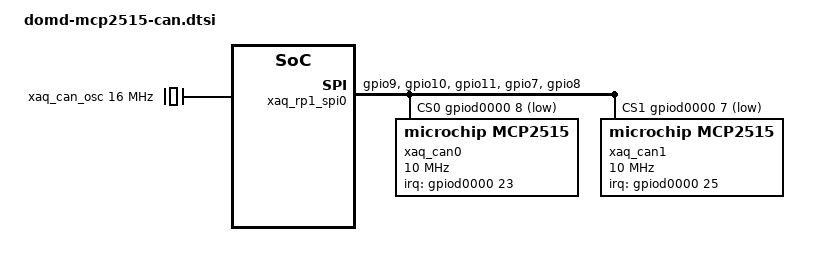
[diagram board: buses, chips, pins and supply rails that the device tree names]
// SPDX-License-Identifier: Apache-2.0
// Copyright (c) 2026 Xaloqi
//
// Appended to SoDeV's DomD partial DT (bcm2712-raspberrypi5-domd-vc4.dts) by
// domd-vc4.bbappend: the Waveshare 2-CH CAN HAT (two MCP2515 on RP1 SPI0) as
// DomD's can0/can1.
//
// No Xen change is needed for this. DomD already owns the whole RP1 peripheral
// window through the pcie2 xen,reg aperture (host 0x1f_00000000, 16 MiB), and
// RP1's device interrupts are RP1-internal (its irqchip, then MSI-X through the
// MIP, whose SPIs 160..223 are DomD's). SPI0 (RP1 +0x50000) and the GPIO bank
// (RP1 +0xd0000) are inside that window, so these nodes only tell DomD's kernel
// what is there, like SoDeV's other RP1 nodes ("DESCRIPTIVE only").
//
// Values, and where they come from:
//  - 16 MHz oscillator, can0 = CE0 (GPIO8) + INT GPIO23, can1 = CE1 (GPIO7) +
//    INT GPIO25: Waveshare's 2-CH CAN HAT wiki ("mcp2515-can0,oscillator=16000000,
//    interrupt=23", "mcp2515-can1,oscillator=16000000,interrupt=25"). SoDeV's own
//    bcm2712-raspberrypi5-can-mcp2515.dtso (meta-xt-rpi5, EPAM) has the same.
//  - SPI0: snps,dw-apb-ssi at RP1 0x50000, RP1 IRQ 19 (0x13), clock RP1_CLK_SYS
//    (clocks18000 index 0x0c), copied from that dtso.
//  - No DMA: the dtso's rp1_dma is left out on purpose, so the DesignWare driver
//    uses PIO. Two CAN controllers at 500 kbit/s do not need DMA, and it keeps
//    RP1's DMA engine (and its dma-ranges through PCIe) out of the bring-up.
//  - 10 MHz SPI clock, as in the dtso (the MCP2515's maximum).

&gpiod0000 {
	xaq_spi0_pins: xaq_spi0_pins {
		function = "spi0";
		pins = "gpio9", "gpio10", "gpio11";
		drive-strength = <12>;
		bias-disable;
	};
	xaq_spi0_cs_pins: xaq_spi0_cs_pins {
		function = "spi0";
		pins = "gpio7", "gpio8";
		bias-pull-up;
	};
	xaq_can0_int: xaq_can0_int {
		function = "gpio";
		pins = "gpio23";
		bias-pull-up;
	};
	xaq_can1_int: xaq_can1_int {
		function = "gpio";
		pins = "gpio25";
		bias-pull-up;
	};
};

// Under /passthrough: dom0less copies only that subtree into DomD's DT.
&passthrough {
	xaq_can_osc: xaq-can-osc {
		compatible = "fixed-clock";
		#clock-cells = <0>;
		clock-frequency = <16000000>;
	};
};

&rp1 {
	xaq_rp1_spi0: spi@c040050000 {
		compatible = "snps,dw-apb-ssi";
		reg = <0xc0 0x40050000 0x0 0x130>;
		interrupts = <0x13 0x4>;
		clocks = <&clocks18000 0x0c>;
		clock-names = "ssi_clk";
		num-cs = <2>;
		cs-gpios = <&gpiod0000 8 1>, <&gpiod0000 7 1>;
		pinctrl-names = "default";
		pinctrl-0 = <&xaq_spi0_pins &xaq_spi0_cs_pins>;
		#address-cells = <1>;
		#size-cells = <0>;
		status = "okay";

		xaq_can0: can@0 {
			compatible = "microchip,mcp2515";
			reg = <0>;
			spi-max-frequency = <10000000>;
			clocks = <&xaq_can_osc>;
			interrupt-parent = <&gpiod0000>;
			interrupts = <23 0x8>;	/* IRQ_TYPE_LEVEL_LOW */
			pinctrl-names = "default";
			pinctrl-0 = <&xaq_can0_int>;
		};

		xaq_can1: can@1 {
			compatible = "microchip,mcp2515";
			reg = <1>;
			spi-max-frequency = <10000000>;
			clocks = <&xaq_can_osc>;
			interrupt-parent = <&gpiod0000>;
			interrupts = <25 0x8>;	/* IRQ_TYPE_LEVEL_LOW */
			pinctrl-names = "default";
			pinctrl-0 = <&xaq_can1_int>;
		};
	};
};
